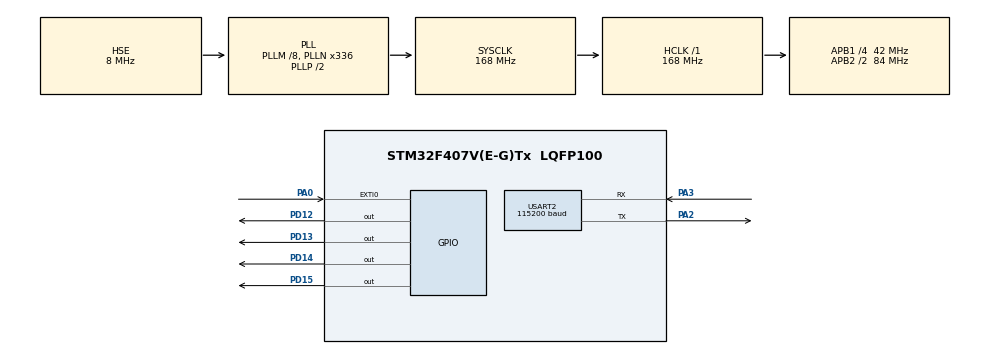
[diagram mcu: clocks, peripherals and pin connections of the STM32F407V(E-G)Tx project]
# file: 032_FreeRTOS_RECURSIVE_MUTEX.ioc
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FREERTOS.Tasks01=defaultTask,24,128,StartDefaultTask,Default,NULL,Dynamic,NULL,NULL
FREERTOS.configUSE_NEWLIB_REENTRANT=1
Mcu.Family=STM32F4
Mcu.Name=STM32F407V(E-G)Tx
Mcu.Package=LQFP100
NVIC.EXTI0_IRQn=true\:5\:0\:false\:false\:true\:true\:true\:true\:true
NVIC.PriorityGroup=NVIC_PRIORITYGROUP_4
NVIC.TIM8_TRG_COM_TIM14_IRQn=true\:15\:0\:false\:false\:true\:false\:false\:true\:true
NVIC.TimeBase=TIM8_TRG_COM_TIM14_IRQn
NVIC.TimeBaseIP=TIM14
NVIC.USART2_IRQn=true\:5\:0\:false\:false\:true\:true\:true\:true\:true
PA0-WKUP.Signal=GPXTI0
PA2.Mode=Asynchronous
PA2.Signal=USART2_TX
PA3.Mode=Asynchronous
PA3.Signal=USART2_RX
PD12.Signal=GPIO_Output
PD13.Signal=GPIO_Output
PD14.Signal=GPIO_Output
PD15.Signal=GPIO_Output
PH0-OSC_IN.Mode=HSE-External-Oscillator
PH0-OSC_IN.Signal=RCC_OSC_IN
PH1-OSC_OUT.Mode=HSE-External-Oscillator
PH1-OSC_OUT.Signal=RCC_OSC_OUT
ProjectManager.HeapSize=0x200
ProjectManager.StackSize=0x400
ProjectManager.TargetToolchain=STM32CubeIDE
RCC.48MHZClocksFreq_Value=48000000
RCC.AHBFreq_Value=168000000
RCC.APB1CLKDivider=RCC_HCLK_DIV4
RCC.APB1Freq_Value=42000000
RCC.APB1TimFreq_Value=84000000
RCC.APB2CLKDivider=RCC_HCLK_DIV2
RCC.APB2Freq_Value=84000000
RCC.APB2TimFreq_Value=168000000
RCC.CortexFreq_Value=168000000
RCC.HCLKFreq_Value=168000000
RCC.HSE_VALUE=8000000
RCC.HSI_VALUE=16000000
RCC.LSE_VALUE=32768
RCC.PLLM=8
RCC.PLLN=336
RCC.PLLQ=7
RCC.PLLSourceVirtual=RCC_PLLSOURCE_HSE
RCC.SYSCLKFreq_VALUE=168000000
RCC.SYSCLKSource=RCC_SYSCLKSOURCE_PLLCLK
RCC.VCOOutputFreq_Value=336000000
USART2.BaudRate=115200
USART2.VirtualMode=VM_ASYNC
VP_FREERTOS_VS_CMSIS_V2.Mode=CMSIS_V2
VP_SYS_VS_tim14.Mode=TIM14
board=STM32F407G-DISC1

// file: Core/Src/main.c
/* USER CODE BEGIN Header */
/**
  ******************************************************************************
  * @file           : main.c
  * @brief          : Main program body
  ******************************************************************************
  * @attention
  *
  * Copyright (c) 2023 STMicroelectronics.
  * All rights reserved.
  *
  * This software is licensed under terms that can be found in the LICENSE file
  * in the root directory of this software component.
  * If no LICENSE file comes with this software, it is provided AS-IS.
  *
  ******************************************************************************
  */
/* USER CODE END Header */
#include "main.h"

/* USER CODE BEGIN Includes */
#include "FreeRTOS.h"
#include "task.h"
#include "queue.h"
#include "semphr.h"
#include <string.h>
#include <stdio.h>
/* USER CODE END Includes */

UART_HandleTypeDef huart2;

/* Definitions for defaultTask */

/* USER CODE BEGIN PV */
SemaphoreHandle_t xRecursiveMutex = NULL;
/* USER CODE END PV */

void SystemClock_Config(void);
static void MX_GPIO_Init(void);
static void MX_USART2_UART_Init(void);

/* USER CODE BEGIN 0 */
void vTaskFunction(void *pvParameters)
{
	const TickType_t xMaxBlock20ms = pdMS_TO_TICKS(20);
	xRecursiveMutex = xSemaphoreCreateRecursiveMutex();
	configASSERT(xRecursiveMutex);
	char buffer[100];
	uint32_t count = 0;

	for(;;)
	{
		if(xSemaphoreTakeRecursive(xRecursiveMutex, xMaxBlock20ms) == pdPASS)
		{
			count++;
			sprintf(buffer, "Mutex succesfully obtained.Pseudo counter %ld",count);
			HAL_UART_Transmit(&huart2, (uint8_t*)buffer, strlen(buffer), HAL_MAX_DELAY);
			// in real application, this recursive take usually happens in sub function.
			xSemaphoreTakeRecursive(xRecursiveMutex, xMaxBlock20ms);

			count++;
			sprintf(buffer, "Mutex succesfully obtained.Pseudo counter %ld",count);
			HAL_UART_Transmit(&huart2, (uint8_t*)buffer, strlen(buffer), HAL_MAX_DELAY);

			xSemaphoreGiveRecursive(xRecursiveMutex);
			count--;
			sprintf(buffer, "Mutex giving back.Pseudo counter %ld",count);
			HAL_UART_Transmit(&huart2, (uint8_t*)buffer, strlen(buffer), HAL_MAX_DELAY);
			// in reality this gives mutex back
			xSemaphoreGiveRecursive(xRecursiveMutex);
			count--;
			sprintf(buffer, "Mutex giving back.Pseudo counter %ld",count);
			HAL_UART_Transmit(&huart2, (uint8_t*)buffer, strlen(buffer), HAL_MAX_DELAY);

			vTaskDelay(pdMS_TO_TICKS(500));
		}
	}
}
/* USER CODE END 0 */

int main(void)
{

  /* MCU Configuration--------------------------------------------------------*/

  /* Reset of all peripherals, Initializes the Flash interface and the Systick. */
  HAL_Init();

  /* Configure the system clock */
  SystemClock_Config();

  /* Initialize all configured peripherals */
  MX_GPIO_Init();
  MX_USART2_UART_Init();
  /* USER CODE BEGIN 2 */
  xTaskCreate(vTaskFunction, "Demo", configMINIMAL_STACK_SIZE, NULL, 1, NULL);
  vTaskStartScheduler();
  /* USER CODE END 2 */

  /* Init scheduler */

  /* Create the thread(s) */
  /* creation of defaultTask */

  /* Start scheduler */
  /* We should never get here as control is now taken by the scheduler */
  /* Infinite loop */
  while (1)
  {

  }
}

void SystemClock_Config(void)
{
  RCC_OscInitTypeDef RCC_OscInitStruct = {0};
  RCC_ClkInitTypeDef RCC_ClkInitStruct = {0};

  /** Configure the main internal regulator output voltage
  */
  __HAL_RCC_PWR_CLK_ENABLE();
  __HAL_PWR_VOLTAGESCALING_CONFIG(PWR_REGULATOR_VOLTAGE_SCALE1);

  /** Initializes the RCC Oscillators according to the specified parameters
  * in the RCC_OscInitTypeDef structure.
  */
  RCC_OscInitStruct.OscillatorType = RCC_OSCILLATORTYPE_HSE;
  RCC_OscInitStruct.HSEState = RCC_HSE_ON;
  RCC_OscInitStruct.PLL.PLLState = RCC_PLL_ON;
  RCC_OscInitStruct.PLL.PLLSource = RCC_PLLSOURCE_HSE;
  RCC_OscInitStruct.PLL.PLLM = 8;
  RCC_OscInitStruct.PLL.PLLN = 336;
  RCC_OscInitStruct.PLL.PLLP = RCC_PLLP_DIV2;
  RCC_OscInitStruct.PLL.PLLQ = 7;
  if (HAL_RCC_OscConfig(&RCC_OscInitStruct) != HAL_OK)
  {
    Error_Handler();
  }

  /** Initializes the CPU, AHB and APB buses clocks
  */
  RCC_ClkInitStruct.ClockType = RCC_CLOCKTYPE_HCLK|RCC_CLOCKTYPE_SYSCLK
                              |RCC_CLOCKTYPE_PCLK1|RCC_CLOCKTYPE_PCLK2;
  RCC_ClkInitStruct.SYSCLKSource = RCC_SYSCLKSOURCE_PLLCLK;
  RCC_ClkInitStruct.AHBCLKDivider = RCC_SYSCLK_DIV1;
  RCC_ClkInitStruct.APB1CLKDivider = RCC_HCLK_DIV4;
  RCC_ClkInitStruct.APB2CLKDivider = RCC_HCLK_DIV2;

  if (HAL_RCC_ClockConfig(&RCC_ClkInitStruct, FLASH_LATENCY_5) != HAL_OK)
  {
    Error_Handler();
  }
}

static void MX_USART2_UART_Init(void)
{

  huart2.Instance = USART2;
  huart2.Init.BaudRate = 115200;
  huart2.Init.WordLength = UART_WORDLENGTH_8B;
  huart2.Init.StopBits = UART_STOPBITS_1;
  huart2.Init.Parity = UART_PARITY_NONE;
  huart2.Init.Mode = UART_MODE_TX_RX;
  huart2.Init.HwFlowCtl = UART_HWCONTROL_NONE;
  huart2.Init.OverSampling = UART_OVERSAMPLING_16;
  if (HAL_UART_Init(&huart2) != HAL_OK)
  {
    Error_Handler();
  }

}

static void MX_GPIO_Init(void)
{
  GPIO_InitTypeDef GPIO_InitStruct = {0};

  /* GPIO Ports Clock Enable */
  __HAL_RCC_GPIOH_CLK_ENABLE();
  __HAL_RCC_GPIOA_CLK_ENABLE();
  __HAL_RCC_GPIOD_CLK_ENABLE();

  /*Configure GPIO pin Output Level */
  HAL_GPIO_WritePin(GPIOD, GPIO_PIN_12|GPIO_PIN_13|GPIO_PIN_14|GPIO_PIN_15, GPIO_PIN_RESET);

  /*Configure GPIO pin : PA0 */
  GPIO_InitStruct.Pin = GPIO_PIN_0;
  GPIO_InitStruct.Mode = GPIO_MODE_IT_RISING;
  GPIO_InitStruct.Pull = GPIO_NOPULL;
  HAL_GPIO_Init(GPIOA, &GPIO_InitStruct);

  /*Configure GPIO pins : PD12 PD13 PD14 PD15 */
  GPIO_InitStruct.Pin = GPIO_PIN_12|GPIO_PIN_13|GPIO_PIN_14|GPIO_PIN_15;
  GPIO_InitStruct.Mode = GPIO_MODE_OUTPUT_PP;
  GPIO_InitStruct.Pull = GPIO_NOPULL;
  GPIO_InitStruct.Speed = GPIO_SPEED_FREQ_LOW;
  HAL_GPIO_Init(GPIOD, &GPIO_InitStruct);

  /* EXTI interrupt init*/
  HAL_NVIC_SetPriority(EXTI0_IRQn, 5, 0);
  HAL_NVIC_EnableIRQ(EXTI0_IRQn);

}

void HAL_TIM_PeriodElapsedCallback(TIM_HandleTypeDef *htim)
{
  if (htim->Instance == TIM14) {
    HAL_IncTick();
  }
}

void Error_Handler(void)
{
  __disable_irq();
  while (1)
  {
  }
}
